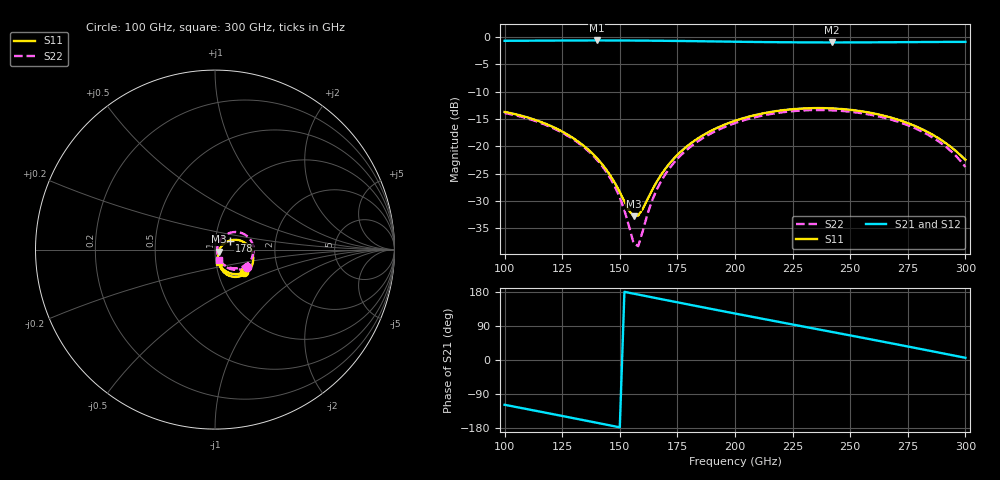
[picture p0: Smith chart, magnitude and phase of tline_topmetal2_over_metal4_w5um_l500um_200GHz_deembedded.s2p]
! Created with skrf 2.0.1 (http://scikit-rf.org).
# GHz S DB R 50.0
!freq dBS11 angS11 dBS21 angS21 dBS12 angS12 dBS22 angS22
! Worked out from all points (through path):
!   101 points, 100 GHz to 300 GHz, reference 50 ohm
!   highest |S21| = -0.59 dB at 140 GHz (marker M1); lowest = -1.0 dB at 242 GHz (marker M2)
!   group delay of S21, straight-line fit = 3.27 ps
!   lowest |S11| = -32.9 dB at 156 GHz (marker M3), VSWR 1.05, Z = 52 - j1.11 ohm
!   |S11| at or under -10 dB: start of sweep to end of sweep
!   |S22| runs from -38.3 to -13.4 dB; largest |S21 - S12| = 1.6e-14
!   S11 on the Smith chart (normalised r, x): 100 GHz: 1.34, -0.35; 178 GHz: 1.17, +0.12; 300 GHz: 1.04, -0.15
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100  -13.70 -37.4  -0.66 -118.2  -0.66 -118.2  -13.89 -28.1
120  -16.26 -58.1  -0.62 -141.7  -0.62 -141.7  -16.47 -48.0
134  -19.80 -70.2  -0.59 -158.5  -0.59 -158.5  -20.03 -60.8
140  -22.15 -73.2  -0.59 -165.7  -0.59 -165.7  -22.44 -65.2
146  -25.43 -72.2  -0.59 -172.9  -0.59 -172.9  -25.93 -67.3
150  -28.39 -65.5  -0.60 -177.7  -0.60 -177.7  -29.40 -64.9
152  -30.11 -58.1  -0.60 179.9  -0.60 179.9  -31.75 -60.4
156  -32.85 -27.8  -0.61 175.1  -0.61 175.1  -37.79 -26.8
158  -32.70 -7.4  -0.62 172.6  -0.62 172.6  -38.32 12.0
164  -28.05 27.1  -0.64 165.4  -0.64 165.4  -29.96 58.0
168  -25.18 32.9  -0.65 160.6  -0.65 160.6  -26.34 61.2
178  -20.41 31.7  -0.70 148.6  -0.70 148.6  -21.04 56.7
188  -17.52 24.1  -0.75 136.8  -0.75 136.8  -18.01 48.0
200  -15.32 12.7  -0.82 122.7  -0.82 122.7  -15.74 36.3
218  -13.54 -5.7  -0.91 101.8  -0.91 101.8  -13.91 17.9
234  -13.00 -22.3  -0.95 83.3  -0.95 83.3  -13.36 1.3
242  -13.05 -30.5  -0.96 74.1  -0.96 74.1  -13.40 -7.0
254  -13.52 -42.6  -0.95 60.2  -0.95 60.2  -13.87 -19.7
268  -14.77 -56.1  -0.92 43.9  -0.92 43.9  -15.14 -34.6
286  -17.93 -70.1  -0.87 22.6  -0.87 22.6  -18.44 -53.7
294  -20.22 -72.9  -0.86 13.0  -0.86 13.0  -21.00 -61.9
300  -22.48 -71.3  -0.85 5.8  -0.85 5.8  -23.79 -67.4
